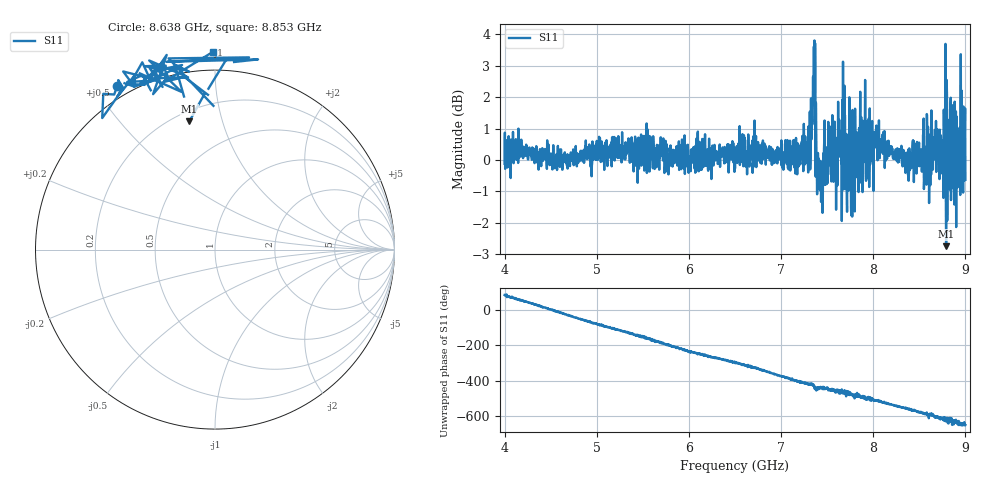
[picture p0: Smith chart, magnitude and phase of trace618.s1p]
! Created with skrf 1.8.0 (http://scikit-rf.org).
# Hz S RI R 50.0
!freq ReS11 ImS11
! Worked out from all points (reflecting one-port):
!   1601 points, 4 GHz to 9 GHz, reference 50 ohm
!   lowest |S11| = -2.7 dB at 8.791 GHz (marker M1), VSWR 6.38, Z = 12.9 + j39.4 ohm
!   phase of S11 starts at 83 deg and turns -734 deg over the sweep
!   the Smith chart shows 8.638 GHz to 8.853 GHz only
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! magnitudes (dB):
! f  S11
! 4 GHz  -0.1
! 4.097 GHz  -0.1
! 4.625 GHz  -0.3
! 5.25 GHz  0.4
! 5.875 GHz  -0.2
! 6.5 GHz  -0.3
! 7.125 GHz  0.3
! 7.294 GHz  -0.4
! 7.347 GHz  2.7
! 7.369 GHz  3.7
! 7.4 GHz  0.2
! 7.428 GHz  0.0
! 7.538 GHz  0.5
! 7.591 GHz  0.7
! 7.669 GHz  0.7
! 7.75 GHz  0.4
! 7.775 GHz  1.6
! 7.8 GHz  -1.6
! 7.891 GHz  0.4
! 8.375 GHz  -0.2
! 8.656 GHz  0.3
! 8.766 GHz  1.6
! 8.791 GHz  -2.7
! 8.819 GHz  0.4
! 8.856 GHz  0.1
! 8.919 GHz  0.1
! 8.972 GHz  1.0
! 9 GHz  -0.6
